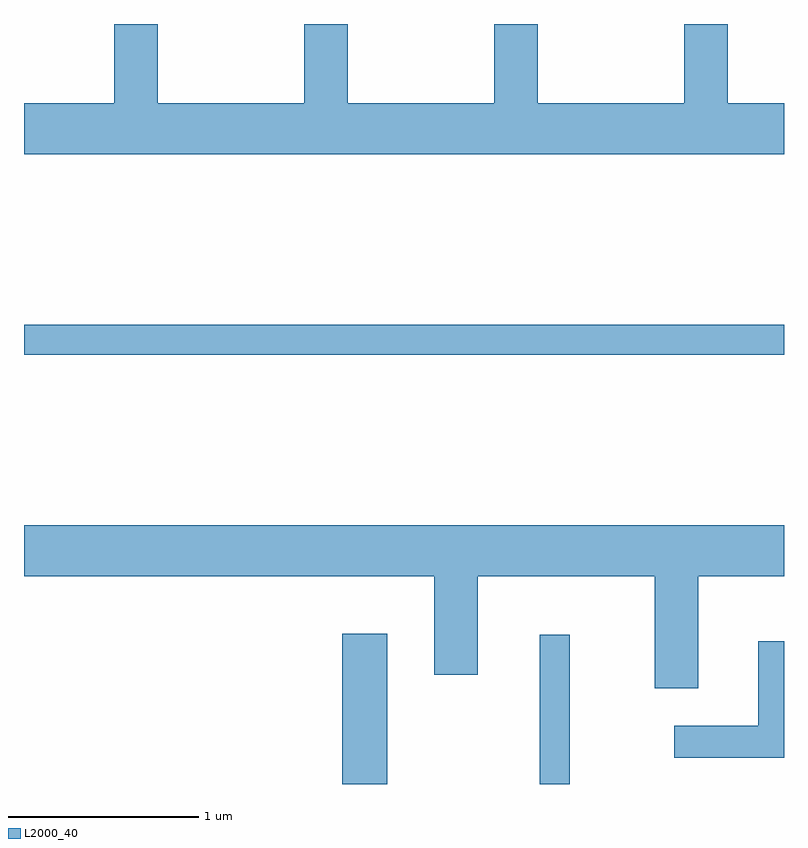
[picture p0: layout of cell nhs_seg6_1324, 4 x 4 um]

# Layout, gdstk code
import gdstk
lib = gdstk.Library(unit=1e-6, precision=1e-09)
def R(c, l, rs):  # rectangles x0, y0, x1, y1
    for r in rs: c.add(gdstk.rectangle(r[:2], r[2:], *l))
def P(c, l, *ps):  # polygons
    for p in ps: c.add(gdstk.Polygon(p, *l))
L2000_40 = (2000, 40)

nhs_seg6_1324 = lib.new_cell('nhs_seg6_1324')
R(nhs_seg6_1324, L2000_40, [(225.286,1662.162,225.524,1662.954), (226.326,1662.162,226.484,1662.948), (223.611,1664.421,227.611,1664.579)])
P(nhs_seg6_1324, L2000_40, [(227.611,1665.744),(227.314,1665.744),(227.314,1666.162),(227.086,1666.162),(227.086,1665.744),(226.314,1665.744),(226.314,1666.162),(226.086,1666.162),(226.086,1665.744),(225.314,1665.744),(225.314,1666.162),(225.086,1666.162),(225.086,1665.744),(224.314,1665.744),(224.314,1666.162),(224.086,1666.162),(224.086,1665.744),(223.611,1665.744),(223.611,1665.476),(227.611,1665.476)],
  [(227.159,1663.256),(227.611,1663.256),(227.611,1663.524),(223.611,1663.524),(223.611,1663.256),(225.771,1663.256),(225.771,1662.736),(225.999,1662.736),(225.999,1663.256),(226.931,1663.256),(226.931,1662.666),(227.159,1662.666)],
  [(227.611,1662.914),(227.476,1662.914),(227.476,1662.469),(227.033,1662.469),(227.033,1662.301),(227.611,1662.301)])

lib.write_gds('nhs_seg6_1324.gds')
